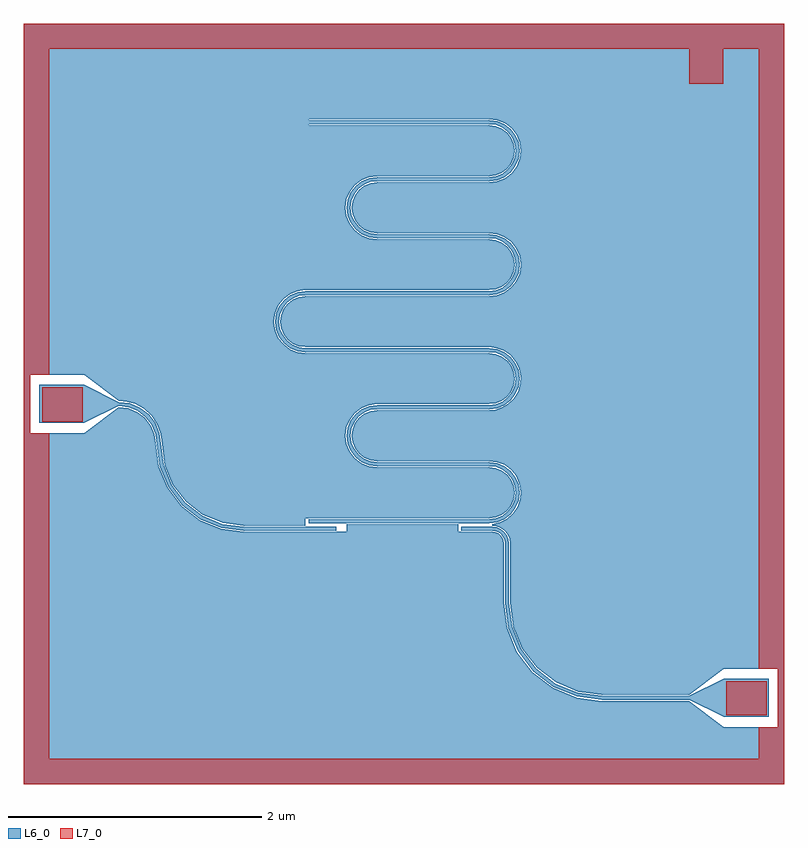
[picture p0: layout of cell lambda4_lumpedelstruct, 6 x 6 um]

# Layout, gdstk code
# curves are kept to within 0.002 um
import gdstk
lib = gdstk.Library(unit=1e-6, precision=1e-09)
def R(c, l, rs):  # rectangles x0, y0, x1, y1
    for r in rs: c.add(gdstk.rectangle(r[:2], r[2:], *l))
def P(c, l, *ps):  # polygons
    for p in ps: c.add(gdstk.Polygon(p, *l))
L6_0 = (6, 0)
L7_0 = (7, 0)

lambda4_lumpedelstruct = lib.new_cell('lambda4_lumpedelstruct')
R(lambda4_lumpedelstruct, L6_0, [(1.563,-2.335,2.25,-2.305), (-1.265,-1,-0.533,-0.97)])
P(lambda4_lumpedelstruct, L6_0, [(1.563,-2.335),(1.365,-2.309),(1.18,-2.233),(1.022,-2.111),(0.9,-1.953),(0.824,-1.768),(0.798,-1.57),(0.798,-1.1),(0.794,-1.074),(0.784,-1.05),(0.768,-1.029),(0.748,-1.013),(0.723,-1.003),(0.698,-1),(0.453,-1),(0.453,-0.97),(0.698,-0.97),(0.731,-0.974),(0.763,-0.987),(0.789,-1.008),(0.81,-1.035),(0.823,-1.066),(0.828,-1.1),(0.828,-1.57),(0.853,-1.76),(0.926,-1.938),(1.043,-2.09),(1.195,-2.207),(1.372,-2.28),(1.563,-2.305)],
  [(-0.753,-0.94),(-0.753,-0.91),(0.673,-0.91),(0.727,-0.903),(0.778,-0.882),(0.821,-0.848),(0.854,-0.805),(0.875,-0.754),(0.883,-0.7),(0.875,-0.646),(0.854,-0.595),(0.821,-0.552),(0.778,-0.518),(0.727,-0.497),(0.673,-0.49),(-0.213,-0.49),(-0.275,-0.482),(-0.333,-0.458),(-0.382,-0.42),(-0.42,-0.37),(-0.444,-0.312),(-0.453,-0.25),(-0.444,-0.188),(-0.42,-0.13),(-0.382,-0.08),(-0.333,-0.042),(-0.275,-0.018),(-0.213,-0.01),(0.673,-0.01),(0.727,-0.003),(0.778,0.018),(0.821,0.052),(0.854,0.095),(0.875,0.146),(0.883,0.2),(0.875,0.254),(0.854,0.305),(0.821,0.348),(0.778,0.382),(0.727,0.403),(0.673,0.41),(-0.778,0.41),(-0.839,0.418),(-0.897,0.442),(-0.946,0.479),(-0.984,0.528),(-1.009,0.585),(-1.017,0.65),(-0.988,0.65),(-0.98,0.596),(-0.959,0.545),(-0.926,0.502),(-0.883,0.468),(-0.832,0.447),(-0.778,0.44),(0.673,0.44),(0.735,0.432),(0.793,0.408),(0.842,0.37),(0.88,0.32),(0.904,0.262),(0.913,0.2),(0.904,0.138),(0.88,0.08),(0.842,0.03),(0.793,-0.008),(0.735,-0.032),(0.673,-0.04),(-0.213,-0.04),(-0.267,-0.047),(-0.318,-0.068),(-0.361,-0.102),(-0.394,-0.145),(-0.415,-0.196),(-0.423,-0.25),(-0.415,-0.304),(-0.394,-0.355),(-0.361,-0.398),(-0.318,-0.432),(-0.267,-0.453),(-0.213,-0.46),(0.673,-0.46),(0.735,-0.468),(0.793,-0.492),(0.842,-0.53),(0.88,-0.58),(0.904,-0.638),(0.913,-0.7),(0.904,-0.762),(0.88,-0.82),(0.842,-0.87),(0.793,-0.908),(0.735,-0.932),(0.673,-0.94)],
  [(-1.017,0.65),(-1.009,0.715),(-0.984,0.772),(-0.946,0.821),(-0.897,0.858),(-0.839,0.882),(-0.778,0.89),(0.673,0.89),(0.727,0.897),(0.778,0.918),(0.821,0.952),(0.854,0.995),(0.875,1.046),(0.883,1.1),(0.875,1.154),(0.854,1.205),(0.821,1.248),(0.778,1.282),(0.727,1.303),(0.673,1.31),(-0.213,1.31),(-0.275,1.318),(-0.333,1.342),(-0.382,1.38),(-0.42,1.43),(-0.444,1.488),(-0.453,1.55),(-0.444,1.612),(-0.42,1.67),(-0.382,1.72),(-0.333,1.758),(-0.275,1.782),(-0.213,1.79),(0.673,1.79),(0.727,1.797),(0.778,1.818),(0.821,1.852),(0.854,1.895),(0.875,1.946),(0.883,2),(0.875,2.054),(0.854,2.105),(0.821,2.148),(0.778,2.182),(0.727,2.203),(0.673,2.21),(-0.753,2.21),(-0.753,2.24),(0.673,2.24),(0.735,2.232),(0.793,2.208),(0.842,2.17),(0.88,2.12),(0.904,2.062),(0.913,2),(0.904,1.938),(0.88,1.88),(0.842,1.83),(0.793,1.792),(0.735,1.768),(0.673,1.76),(-0.213,1.76),(-0.267,1.753),(-0.318,1.732),(-0.361,1.698),(-0.394,1.655),(-0.415,1.604),(-0.423,1.55),(-0.415,1.496),(-0.394,1.445),(-0.361,1.402),(-0.318,1.368),(-0.267,1.347),(-0.213,1.34),(0.673,1.34),(0.734,1.332),(0.792,1.308),(0.841,1.271),(0.879,1.222),(0.904,1.165),(0.912,1.103),(0.904,1.035),(0.879,0.978),(0.841,0.929),(0.792,0.892),(0.734,0.868),(0.673,0.86),(-0.778,0.86),(-0.832,0.853),(-0.883,0.832),(-0.926,0.798),(-0.959,0.755),(-0.98,0.704),(-0.988,0.65)],
  [(-3,-3),(-3,0),(-2.95,0),(-2.95,-0.23),(-2.525,-0.23),(-2.25,-0.025),(-2.175,-0.035),(-2.105,-0.064),(-2.045,-0.11),(-1.999,-0.17),(-1.97,-0.24),(-1.936,-0.495),(-1.867,-0.663),(-1.756,-0.806),(-1.613,-0.917),(-1.445,-0.986),(-1.265,-1.01),(-0.453,-1.01),(-0.453,-0.95),(0.428,-0.95),(0.428,-1.01),(0.698,-1.01),(0.721,-1.013),(0.743,-1.022),(0.761,-1.036),(0.775,-1.055),(0.784,-1.077),(0.788,-1.1),(0.788,-1.57),(0.814,-1.771),(0.891,-1.958),(1.014,-2.118),(1.175,-2.241),(1.362,-2.319),(1.563,-2.345),(2.25,-2.345),(2.525,-2.55),(2.95,-2.55),(2.95,-2.09),(2.525,-2.09),(2.25,-2.295),(1.563,-2.295),(1.375,-2.27),(1.2,-2.198),(1.05,-2.083),(0.935,-1.933),(0.862,-1.758),(0.838,-1.57),(0.838,-1.1),(0.833,-1.064),(0.819,-1.03),(0.796,-1.001),(0.768,-0.979),(0.734,-0.965),(0.698,-0.96),(0.698,-0.949),(0.759,-0.935),(0.815,-0.905),(0.862,-0.863),(0.897,-0.81),(0.917,-0.75),(0.922,-0.687),(0.911,-0.625),(0.885,-0.568),(0.845,-0.519),(0.794,-0.481),(0.735,-0.458),(0.673,-0.45),(-0.213,-0.45),(-0.264,-0.443),(-0.313,-0.423),(-0.354,-0.391),(-0.386,-0.35),(-0.406,-0.302),(-0.413,-0.25),(-0.406,-0.198),(-0.386,-0.15),(-0.354,-0.109),(-0.313,-0.077),(-0.264,-0.057),(-0.213,-0.05),(0.673,-0.05),(0.726,-0.044),(0.776,-0.027),(0.823,0),(3,0),(3,-3)],
  [(-1.265,-0.96),(-1.432,-0.938),(-1.587,-0.874),(-1.721,-0.771),(-1.824,-0.638),(-1.888,-0.482),(-1.92,-0.235),(-1.947,-0.16),(-1.992,-0.093),(-2.052,-0.039),(-2.122,0),(-0.213,0),(-0.277,-0.009),(-0.338,-0.033),(-0.389,-0.073),(-0.429,-0.125),(-0.454,-0.185),(-0.463,-0.25),(-0.454,-0.315),(-0.429,-0.375),(-0.389,-0.427),(-0.338,-0.467),(-0.277,-0.491),(-0.213,-0.5),(0.673,-0.5),(0.724,-0.507),(0.773,-0.527),(0.814,-0.559),(0.846,-0.6),(0.866,-0.648),(0.873,-0.7),(0.866,-0.752),(0.846,-0.8),(0.814,-0.841),(0.773,-0.873),(0.724,-0.893),(0.673,-0.9),(-0.778,-0.9),(-0.778,-0.96)],
  [(-3,0),(-3,3),(3,3),(3,0),(0.823,0),(0.867,0.043),(0.9,0.096),(0.919,0.156),(0.922,0.218),(0.91,0.279),(0.883,0.335),(0.843,0.383),(0.792,0.419),(0.734,0.442),(0.673,0.45),(-0.778,0.45),(-0.829,0.457),(-0.878,0.477),(-0.919,0.509),(-0.951,0.55),(-0.971,0.598),(-0.978,0.65),(-0.971,0.702),(-0.951,0.75),(-0.919,0.791),(-0.878,0.823),(-0.829,0.843),(-0.778,0.85),(0.673,0.85),(0.736,0.858),(0.795,0.882),(0.847,0.921),(0.887,0.971),(0.912,1.03),(0.922,1.107),(0.912,1.17),(0.887,1.229),(0.847,1.279),(0.795,1.318),(0.736,1.342),(0.673,1.35),(-0.213,1.35),(-0.264,1.357),(-0.313,1.377),(-0.354,1.409),(-0.386,1.45),(-0.406,1.498),(-0.413,1.55),(-0.406,1.602),(-0.386,1.65),(-0.354,1.691),(-0.313,1.723),(-0.264,1.743),(-0.213,1.75),(0.673,1.75),(0.737,1.759),(0.798,1.783),(0.849,1.823),(0.889,1.875),(0.914,1.935),(0.923,2),(0.914,2.065),(0.889,2.125),(0.849,2.177),(0.798,2.217),(0.737,2.241),(0.673,2.25),(-0.753,2.25),(-0.753,2.2),(0.673,2.2),(0.724,2.193),(0.773,2.173),(0.814,2.141),(0.846,2.1),(0.866,2.052),(0.873,2),(0.866,1.948),(0.846,1.9),(0.814,1.859),(0.773,1.827),(0.724,1.807),(0.673,1.8),(-0.213,1.8),(-0.277,1.791),(-0.338,1.767),(-0.389,1.727),(-0.429,1.675),(-0.454,1.615),(-0.463,1.55),(-0.454,1.485),(-0.429,1.425),(-0.389,1.373),(-0.338,1.333),(-0.277,1.309),(-0.213,1.3),(0.673,1.3),(0.724,1.293),(0.773,1.273),(0.814,1.241),(0.846,1.2),(0.866,1.152),(0.873,1.1),(0.866,1.048),(0.846,1),(0.814,0.959),(0.773,0.927),(0.724,0.907),(0.673,0.9),(-0.778,0.9),(-0.841,0.892),(-0.9,0.868),(-0.951,0.83),(-0.991,0.78),(-1.017,0.721),(-1.027,0.658),(-1.027,0.642),(-1.017,0.579),(-0.991,0.52),(-0.951,0.47),(-0.9,0.432),(-0.841,0.408),(-0.778,0.4),(0.673,0.4),(0.724,0.393),(0.773,0.373),(0.814,0.341),(0.846,0.3),(0.866,0.252),(0.873,0.2),(0.866,0.148),(0.846,0.1),(0.814,0.059),(0.773,0.027),(0.724,0.007),(0.673,0),(-2.122,0),(-2.185,0.019),(-2.25,0.025),(-2.525,0.23),(-2.95,0.23),(-2.95,0)],
  [(2.525,-2.47),(2.25,-2.335),(2.25,-2.305),(2.525,-2.17),(2.88,-2.17),(2.88,-2.47)],
  [(-1.95,-0.315),(-1.96,-0.237),(-1.99,-0.165),(-2.038,-0.103),(-2.1,-0.055),(-2.172,-0.025),(-2.25,-0.015),(-2.25,0.015),(-2.165,0.004),(-2.085,-0.029),(-2.017,-0.082),(-1.964,-0.15),(-1.931,-0.23),(-1.92,-0.315)],
  [(-1.265,-1),(-1.442,-0.977),(-1.607,-0.908),(-1.749,-0.799),(-1.858,-0.658),(-1.927,-0.492),(-1.95,-0.315),(-1.92,-0.315),(-1.898,-0.485),(-1.832,-0.643),(-1.728,-0.778),(-1.592,-0.882),(-1.434,-0.948),(-1.265,-0.97)],
  [(-2.88,-0.15),(-2.88,0.15),(-2.525,0.15),(-2.25,0.015),(-2.25,-0.015),(-2.525,-0.15)],
  [(2.369,2.233),(2.234,2.508),(2.234,2.863),(2.534,2.863),(2.534,2.508),(2.399,2.233)])
R(lambda4_lumpedelstruct, L7_0, [(2.546,-2.457,2.865,-2.187), (-2.855,-0.139,-2.536,0.131), (2.251,2.529,2.521,2.848)])
P(lambda4_lumpedelstruct, L7_0, [(-3,-3),(-3,2.804),(-2.799,2.804),(-2.799,0.23),(-2.95,0.23),(-2.95,-0.23),(-2.799,-0.23),(-2.799,-2.802),(2.8,-2.802),(2.8,-2.55),(2.95,-2.55),(2.95,-2.09),(2.8,-2.09),(2.8,2.804),(-3,2.804),(-3,3),(3,3),(3,-3)])

lib.write_gds('lambda4_lumpedelstruct.gds')
